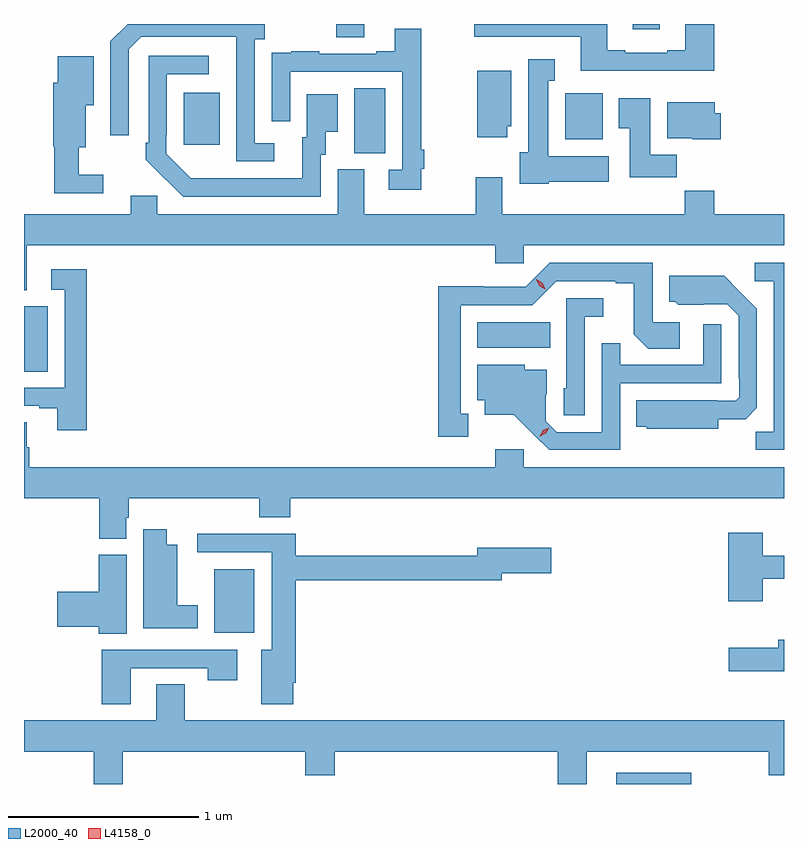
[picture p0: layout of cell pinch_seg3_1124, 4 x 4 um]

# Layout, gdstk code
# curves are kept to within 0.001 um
import gdstk
lib = gdstk.Library(unit=1e-6, precision=1e-09)
def R(c, l, rs):  # rectangles x0, y0, x1, y1
    for r in rs: c.add(gdstk.rectangle(r[:2], r[2:], *l))
def P(c, l, *ps):  # polygons
    for p in ps: c.add(gdstk.Polygon(p, *l))
L2000_40 = (2000, 40)
L4158_0 = (4158, 0)

pinch_seg3_1124 = lib.new_cell('pinch_seg3_1124')
R(pinch_seg3_1124, L2000_40, [(324.806,688.757,325.201,688.816), (322.688,689.552,322.9,689.887), (321.688,690.928,321.814,691.272), (324.074,691.052,324.458,691.186), (323.426,692.077,323.59,692.42), (322.529,692.121,322.717,692.395), (324.536,692.15,324.733,692.392), (323.332,692.686,323.479,692.757), (324.893,692.73,325.033,692.757)])
P(pinch_seg3_1124, L2000_40, [(325.322,692.757),(325.169,692.757),(325.169,692.62),(325.073,692.62),(325.073,692.607),(324.853,692.607),(324.853,692.62),(324.757,692.62),(324.757,692.757),(324.057,692.757),(324.057,692.691),(324.617,692.691),(324.617,692.51),(325.322,692.51)],
  [(323.005,692.13),(322.902,692.13),(322.902,692.678),(322.954,692.678),(322.954,692.757),(322.233,692.757),(322.143,692.667),(322.143,692.172),(322.239,692.172),(322.239,692.625),(322.305,692.691),(322.805,692.691),(322.806,692.034),(323.005,692.034)],
  [(323.78,691.996),(323.795,691.996),(323.795,692.096),(323.78,692.096),(323.78,692.731),(323.639,692.731),(323.639,692.614),(323.543,692.614),(323.543,692.601),(323.243,692.601),(323.243,692.614),(323.095,692.614),(323.095,692.607),(322.993,692.607),(322.993,692.498),(322.992,692.498),(322.992,692.244),(323.088,692.244),(323.088,692.505),(323.679,692.505),(323.679,691.989),(323.607,691.989),(323.607,691.884),(323.78,691.884)],
  [(323.25,692.07),(323.275,692.07),(323.275,692.189),(323.338,692.189),(323.338,692.386),(323.177,692.386),(323.177,692.16),(323.153,692.16),(323.153,691.944),(322.566,691.945),(322.437,692.073),(322.437,692.173),(322.44,692.173),(322.44,692.493),(322.66,692.493),(322.66,692.589),(322.344,692.589),(322.344,692.131),(322.329,692.131),(322.329,692.043),(322.526,691.848),(323.25,691.848)],
  [(322.105,691.963),(321.976,691.963),(321.976,692.108),(322.012,692.108),(322.012,692.33),(322.054,692.33),(322.054,692.587),(321.866,692.587),(321.866,692.448),(321.842,692.448),(321.842,692.112),(321.847,692.112),(321.847,691.866),(322.105,691.866)],
  [(324.45,691.928),(324.766,691.928),(324.766,692.062),(324.448,692.062),(324.448,692.459),(324.481,692.459),(324.481,692.572),(324.341,692.572),(324.341,692.082),(324.296,692.082),(324.296,691.916),(324.45,691.916)],
  [(324.232,692.22),(324.253,692.22),(324.253,692.512),(324.074,692.512),(324.074,692.16),(324.232,692.16)],
  [(325.124,692.068),(324.985,692.068),(324.985,692.365),(324.818,692.365),(324.818,692.209),(324.875,692.209),(324.875,691.95),(325.124,691.95)],
  [(325.355,692.286),(325.324,692.286),(325.324,692.344),(325.073,692.344),(325.073,692.156),(325.206,692.156),(325.206,692.15),(325.355,692.15)],
  [(321.703,691.592),(324.167,691.592),(324.167,691.499),(324.318,691.499),(324.318,691.592),(325.688,691.592),(325.688,691.756),(325.322,691.756),(325.322,691.88),(325.165,691.88),(325.165,691.756),(324.205,691.756),(324.205,691.951),(324.065,691.951),(324.065,691.756),(323.479,691.756),(323.479,691.992),(323.339,691.992),(323.339,691.756),(322.389,691.756),(322.389,691.854),(322.25,691.854),(322.25,691.756),(321.688,691.756),(321.688,691.357),(321.703,691.357)],
  [(324.025,690.705),(323.986,690.705),(323.986,691.278),(324.363,691.278),(324.489,691.404),(324.803,691.404),(324.803,691.392),(324.897,691.392),(324.897,691.124),(324.973,691.048),(325.138,691.048),(325.138,691.188),(324.996,691.188),(324.996,691.5),(324.456,691.5),(324.33,691.374),(324.108,691.374),(324.108,691.376),(323.868,691.376),(323.868,690.585),(324.025,690.585)],
  [(325.688,691.5),(325.533,691.5),(325.533,691.404),(325.635,691.404),(325.635,690.611),(325.54,690.611),(325.54,690.516),(325.688,690.516)],
  [(322.019,691.465),(321.831,691.465),(321.831,691.359),(321.903,691.359),(321.903,690.843),(321.688,690.843),(321.688,690.747),(321.767,690.747),(321.767,690.735),(321.863,690.735),(321.863,690.618),(322.019,690.618)],
  [(325.342,690.677),(325.486,690.677),(325.545,690.736),(325.545,691.258),(325.373,691.432),(325.085,691.432),(325.085,691.296),(325.116,691.296),(325.132,691.28),(325.389,691.281),(325.449,691.221),(325.449,690.892),(325.452,690.892),(325.452,690.792),(325.434,690.774),(325.334,690.774),(325.334,690.778),(324.91,690.778),(324.91,690.638),(324.966,690.638),(324.966,690.626),(325.342,690.626)],
  [(324.639,691.217),(324.736,691.217),(324.736,691.314),(324.543,691.314),(324.543,690.84),(324.528,690.84),(324.528,690.697),(324.639,690.697)],
  [(324.825,690.867),(325.359,690.867),(325.359,691.177),(325.263,691.177),(325.263,690.963),(324.827,690.963),(324.827,691.076),(324.729,691.076),(324.729,690.609),(324.492,690.609),(324.435,690.666),(324.435,690.808),(324.439,690.808),(324.439,690.937),(324.324,690.937),(324.324,690.964),(324.074,690.964),(324.074,690.777),(324.113,690.777),(324.113,690.701),(324.265,690.701),(324.452,690.516),(324.825,690.516)],
  [(322.225,690.159),(322.238,690.159),(322.238,690.26),(322.925,690.26),(322.925,690.161),(323.09,690.161),(323.09,690.26),(325.688,690.26),(325.688,690.424),(324.318,690.424),(324.318,690.52),(324.167,690.52),(324.167,690.424),(321.716,690.424),(321.716,690.53),(321.703,690.53),(321.703,690.662),(321.688,690.662),(321.688,690.26),(322.085,690.26),(322.085,690.049),(322.225,690.049)],
  [(322.603,689.698),(322.495,689.698),(322.495,690.016),(322.438,690.016),(322.438,690.097),(322.316,690.097),(322.316,689.576),(322.603,689.576)],
  [(325.577,689.838),(325.688,689.838),(325.688,689.959),(325.577,689.959),(325.577,690.079),(325.394,690.079),(325.394,689.718),(325.577,689.718)],
  [(323.104,689.29),(323.117,689.29),(323.117,689.83),(324.202,689.83),(324.202,689.867),(324.463,689.867),(324.463,690.001),(324.074,690.001),(324.074,689.959),(323.117,689.959),(323.117,690.074),(322.599,690.074),(322.599,689.976),(322.991,689.976),(322.991,689.464),(322.937,689.464),(322.937,689.178),(323.104,689.178)],
  [(322.228,689.964),(322.082,689.964),(322.082,689.768),(321.864,689.768),(321.864,689.585),(322.082,689.585),(322.082,689.548),(322.228,689.548)],
  [(325.688,689.515),(325.658,689.515),(325.658,689.473),(325.398,689.473),(325.398,689.351),(325.688,689.351)],
  [(322.249,689.367),(322.654,689.367),(322.654,689.304),(322.81,689.304),(322.81,689.463),(322.097,689.463),(322.097,689.178),(322.249,689.178)],
  [(322.207,688.928),(323.167,688.928),(323.167,688.804),(323.324,688.804),(323.324,688.928),(324.497,688.928),(324.497,688.757),(324.649,688.757),(324.649,688.928),(325.609,688.928),(325.609,688.804),(325.688,688.804),(325.688,689.092),(322.533,689.092),(322.533,689.282),(322.385,689.282),(322.385,689.092),(321.688,689.092),(321.688,688.928),(322.055,688.928),(322.055,688.757),(322.207,688.757)])
P(pinch_seg3_1124, L4158_0, [(324.403,690.588),(324.403,690.588),(324.421,690.618),(324.452,690.633),(324.452,690.633),(324.452,690.633),(324.434,690.603),(324.404,690.588)],
  [(324.432,691.361),(324.4,691.38),(324.383,691.413),(324.383,691.413),(324.383,691.413),(324.415,691.394),(324.432,691.361),(324.432,691.361)])

lib.write_gds('pinch_seg3_1124.gds')
